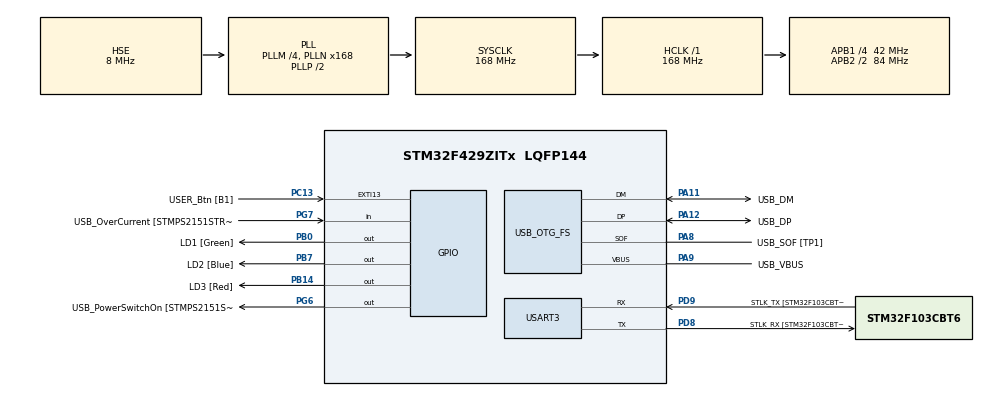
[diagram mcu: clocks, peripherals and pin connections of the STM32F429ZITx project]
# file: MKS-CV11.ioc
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Mcu.Family=STM32F4
Mcu.Name=STM32F429ZITx
Mcu.Package=LQFP144
NVIC.OTG_FS_IRQn=true\:0\:0\:false\:false\:true\:false\:true\:true
NVIC.PriorityGroup=NVIC_PRIORITYGROUP_4
PA1.GPIO_Label=RMII_REF_CLK [LAN8742A-CZ-TR_REFCLK0]
PA1.Signal=ETH_REF_CLK
PA10.GPIO_Label=USB_ID
PA10.Signal=USB_OTG_FS_ID
PA11.GPIO_Label=USB_DM
PA11.Mode=Device_Only
PA11.Signal=USB_OTG_FS_DM
PA12.GPIO_Label=USB_DP
PA12.Mode=Device_Only
PA12.Signal=USB_OTG_FS_DP
PA13.GPIO_Label=TMS
PA13.Mode=Serial_Wire
PA13.Signal=SYS_JTMS-SWDIO
PA14.GPIO_Label=TCK
PA14.Mode=Serial_Wire
PA14.Signal=SYS_JTCK-SWCLK
PA2.GPIO_Label=RMII_MDIO [LAN8742A-CZ-TR_MDIO]
PA2.Signal=ETH_MDIO
PA7.GPIO_Label=RMII_CRS_DV [LAN8742A-CZ-TR_CRS_DV]
PA7.Signal=ETH_CRS_DV
PA8.GPIO_Label=USB_SOF [TP1]
PA8.Mode=Activate_SOF_FS
PA8.Signal=USB_OTG_FS_SOF
PA9.GPIO_Label=USB_VBUS
PA9.Mode=Activate_VBUS
PA9.Signal=USB_OTG_FS_VBUS
PB0.GPIO_Label=LD1 [Green]
PB0.Signal=GPIO_Output
PB13.GPIO_Label=RMII_TXD1 [LAN8742A-CZ-TR_TXD1]
PB13.Signal=ETH_TXD1
PB14.GPIO_Label=LD3 [Red]
PB14.Signal=GPIO_Output
PB7.GPIO_Label=LD2 [Blue]
PB7.Signal=GPIO_Output
PC1.GPIO_Label=RMII_MDC [LAN8742A-CZ-TR_MDC]
PC1.Signal=ETH_MDC
PC13.GPIO_Label=USER_Btn [B1]
PC13.Signal=GPXTI13
PC14/OSC32_IN.Mode=LSE-External-Oscillator
PC14/OSC32_IN.Signal=RCC_OSC32_IN
PC15/OSC32_OUT.Mode=LSE-External-Oscillator
PC15/OSC32_OUT.Signal=RCC_OSC32_OUT
PC4.GPIO_Label=RMII_RXD0 [LAN8742A-CZ-TR_RXD0]
PC4.Signal=ETH_RXD0
PC5.GPIO_Label=RMII_RXD1 [LAN8742A-CZ-TR_RXD1]
PC5.Signal=ETH_RXD1
PD8.GPIO_Label=STLK_RX [STM32F103CBT6_PA3]
PD8.Mode=Asynchronous
PD8.Signal=USART3_TX
PD9.GPIO_Label=STLK_TX [STM32F103CBT6_PA2]
PD9.Mode=Asynchronous
PD9.Signal=USART3_RX
PG11.GPIO_Label=RMII_TX_EN [LAN8742A-CZ-TR_TXEN]
PG11.Signal=ETH_TX_EN
PG13.GPIO_Label=RMII_TXD0 [LAN8742A-CZ-TR_TXD0]
PG13.Signal=ETH_TXD0
PG6.GPIO_Label=USB_PowerSwitchOn [STMPS2151STR_EN]
PG6.Signal=GPIO_Output
PG7.GPIO_Label=USB_OverCurrent [STMPS2151STR_FAULT]
PG7.Signal=GPIO_Input
PH0/OSC_IN.GPIO_Label=MCO [STM32F103CBT6_PA8]
PH0/OSC_IN.Mode=HSE-External-Clock-Source
PH0/OSC_IN.Signal=RCC_OSC_IN
PH1/OSC_OUT.Mode=HSE-External-Clock-Source
PH1/OSC_OUT.Signal=RCC_OSC_OUT
ProjectManager.HeapSize=0x200
ProjectManager.StackSize=0x400
ProjectManager.TargetToolchain=STM32CubeIDE
RCC.48MHZClocksFreq_Value=48000000
RCC.AHBFreq_Value=168000000
RCC.APB1CLKDivider=RCC_HCLK_DIV4
RCC.APB1Freq_Value=42000000
RCC.APB1TimFreq_Value=84000000
RCC.APB2CLKDivider=RCC_HCLK_DIV2
RCC.APB2Freq_Value=84000000
RCC.APB2TimCLKDivider=2
RCC.APB2TimFreq_Value=168000000
RCC.CortexFreq_Value=168000000
RCC.HCLKFreq_Value=168000000
RCC.HSE_VALUE=8000000
RCC.HSI_VALUE=16000000
RCC.PLLM=4
RCC.PLLMUL=RCC_PLL_MUL9
RCC.PLLN=168
RCC.PLLQ=7
RCC.PRESCALERUSB=RCC_USBCLKSOURCE_PLL_DIV1_5
RCC.SYSCLKFreq_VALUE=168000000
RCC.SYSCLKSource=RCC_SYSCLKSOURCE_PLLCLK
RCC.SYSCLKSourceVirtual=RCC_SYSCLKSOURCE_PLLCLK
RCC.USBFreq_Value=48000000
RCC.VCOOutputFreq_Value=336000000
USART3.VirtualMode=VM_ASYNC
USB_DEVICE.CLASS_NAME_FS=HID
USB_DEVICE.VirtualMode-HID_FS=Hid
USB_DEVICE.VirtualModeFS=Hid_FS
USB_OTG_FS.VirtualMode=Device_Only
VP_USB_DEVICE_VS_USB_DEVICE_HID_FS.Mode=HID_FS
board=NUCLEO-F429ZI

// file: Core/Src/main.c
/* USER CODE BEGIN Header */
/**
  ******************************************************************************
  * @file           : main.c
  * @brief          : Main program body
  ******************************************************************************
  * @attention
  *
  * Copyright (c) 2023 STMicroelectronics.
  * All rights reserved.
  *
  * This software is licensed under terms that can be found in the LICENSE file
  * in the root directory of this software component.
  * If no LICENSE file comes with this software, it is provided AS-IS.
  *
  ******************************************************************************
  */
/* USER CODE END Header */
#include "main.h"
#include "usb_device.h"

/* USER CODE BEGIN Includes */
#include "usbd_hid.h"
#include <math.h>
#include <stdbool.h>
/* USER CODE END Includes */

/* USER CODE BEGIN PD */
const static float pi = 3.14159274101257324219;
/* USER CODE END PD */

UART_HandleTypeDef huart3;

void SystemClock_Config(void);
static void MX_GPIO_Init(void);
static void MX_USART3_UART_Init(void);
/* USER CODE BEGIN PFP */
extern USBD_HandleTypeDef hUsbDeviceFS;
/* USER CODE END PFP */

/* USER CODE BEGIN 0 */
void step(uint8_t x, uint8_t y, bool btn)
{
	uint8_t buff[4];
	if(btn)
	{
		buff[0] = 0x01;
	} // stiskni leve tlacitko 0x01
	else
	{buff[0] = 0x00;}
	buff[1] = (int8_t)(x); // posun X
	buff[2] = (int8_t)(y); // posun Y
	buff[3] = 0; // bez scrollu
	USBD_HID_SendReport(&hUsbDeviceFS, buff, sizeof(buff));
	HAL_Delay(USBD_HID_GetPollingInterval(&hUsbDeviceFS));
}

void circle(uint8_t radius)
{
	float sx = radius;
	float sy = 0;
	float x = 0;
	float y = 0;
	int8_t dx = 0;
	int8_t dy = 0;
	for(float phi = 0; phi <= 2*pi; phi = phi + (2*pi)/50)//50 pocet kroku
	{
		x = radius*cosf(phi);
		y = radius*sin(phi);
		dx = x-sx;
		dy = y-sy;

		step(dx, dy, true);

		sx = sx + dx;
		sy = sy + dy;

	}
}

void half_circle(uint8_t radius)
{
	float sx = radius;
	float sy = 0;
	float x = 0;
	float y = 0;
	int8_t dx = 0;
	int8_t dy = 0;
	for(float phi = 0; phi <= pi; phi = phi + (pi)/25)//50 pocet kroku
	{
		x = radius*cosf(phi);
		y = radius*sin(phi);
		dx = x-sx;
		dy = y-sy;

		step(dx, dy, true);

		sx = sx + dx;
		sy = sy + dy;

	}
}
/* USER CODE END 0 */

int main(void)
{

  /* MCU Configuration--------------------------------------------------------*/

  /* Reset of all peripherals, Initializes the Flash interface and the Systick. */
  HAL_Init();

  /* Configure the system clock */
  SystemClock_Config();

  /* Initialize all configured peripherals */
  MX_GPIO_Init();
  MX_USART3_UART_Init();
  MX_USB_DEVICE_Init();

  /* Infinite loop */
  /* USER CODE BEGIN WHILE */
  while (1)
  {
	  if(HAL_GPIO_ReadPin(USER_Btn_GPIO_Port, USER_Btn_Pin) == 1)
	  {
		  circle(100);
		  step(0,0,false);
		  step(-30,-20, false);
		  circle(20);
		  step(0,0,false);
		  step(-60, 0, false);
		  circle(20);
		  step(0,0,false);
		  step(25, 10, false);
		  step(0, 0, true);
		  step(0, 30, true);
		  step(0,0,false);
		  step(35,0,false);
		  half_circle(70);
		  step(0,0,false);
		  step(95,-15,false);

	  }

    /* USER CODE END WHILE */

  }
}

void SystemClock_Config(void)
{
  RCC_OscInitTypeDef RCC_OscInitStruct = {0};
  RCC_ClkInitTypeDef RCC_ClkInitStruct = {0};

  /** Configure the main internal regulator output voltage
  */
  __HAL_RCC_PWR_CLK_ENABLE();
  __HAL_PWR_VOLTAGESCALING_CONFIG(PWR_REGULATOR_VOLTAGE_SCALE1);

  /** Initializes the RCC Oscillators according to the specified parameters
  * in the RCC_OscInitTypeDef structure.
  */
  RCC_OscInitStruct.OscillatorType = RCC_OSCILLATORTYPE_HSE;
  RCC_OscInitStruct.HSEState = RCC_HSE_BYPASS;
  RCC_OscInitStruct.PLL.PLLState = RCC_PLL_ON;
  RCC_OscInitStruct.PLL.PLLSource = RCC_PLLSOURCE_HSE;
  RCC_OscInitStruct.PLL.PLLM = 4;
  RCC_OscInitStruct.PLL.PLLN = 168;
  RCC_OscInitStruct.PLL.PLLP = RCC_PLLP_DIV2;
  RCC_OscInitStruct.PLL.PLLQ = 7;
  if (HAL_RCC_OscConfig(&RCC_OscInitStruct) != HAL_OK)
  {
    Error_Handler();
  }

  /** Initializes the CPU, AHB and APB buses clocks
  */
  RCC_ClkInitStruct.ClockType = RCC_CLOCKTYPE_HCLK|RCC_CLOCKTYPE_SYSCLK
                              |RCC_CLOCKTYPE_PCLK1|RCC_CLOCKTYPE_PCLK2;
  RCC_ClkInitStruct.SYSCLKSource = RCC_SYSCLKSOURCE_PLLCLK;
  RCC_ClkInitStruct.AHBCLKDivider = RCC_SYSCLK_DIV1;
  RCC_ClkInitStruct.APB1CLKDivider = RCC_HCLK_DIV4;
  RCC_ClkInitStruct.APB2CLKDivider = RCC_HCLK_DIV2;

  if (HAL_RCC_ClockConfig(&RCC_ClkInitStruct, FLASH_LATENCY_5) != HAL_OK)
  {
    Error_Handler();
  }
}

static void MX_USART3_UART_Init(void)
{

  huart3.Instance = USART3;
  huart3.Init.BaudRate = 115200;
  huart3.Init.WordLength = UART_WORDLENGTH_8B;
  huart3.Init.StopBits = UART_STOPBITS_1;
  huart3.Init.Parity = UART_PARITY_NONE;
  huart3.Init.Mode = UART_MODE_TX_RX;
  huart3.Init.HwFlowCtl = UART_HWCONTROL_NONE;
  huart3.Init.OverSampling = UART_OVERSAMPLING_16;
  if (HAL_UART_Init(&huart3) != HAL_OK)
  {
    Error_Handler();
  }

}

static void MX_GPIO_Init(void)
{
  GPIO_InitTypeDef GPIO_InitStruct = {0};

  /* GPIO Ports Clock Enable */
  __HAL_RCC_GPIOC_CLK_ENABLE();
  __HAL_RCC_GPIOH_CLK_ENABLE();
  __HAL_RCC_GPIOA_CLK_ENABLE();
  __HAL_RCC_GPIOB_CLK_ENABLE();
  __HAL_RCC_GPIOD_CLK_ENABLE();
  __HAL_RCC_GPIOG_CLK_ENABLE();

  /*Configure GPIO pin Output Level */
  HAL_GPIO_WritePin(GPIOB, LD1_Pin|LD3_Pin|LD2_Pin, GPIO_PIN_RESET);

  /*Configure GPIO pin Output Level */
  HAL_GPIO_WritePin(USB_PowerSwitchOn_GPIO_Port, USB_PowerSwitchOn_Pin, GPIO_PIN_RESET);

  /*Configure GPIO pin : USER_Btn_Pin */
  GPIO_InitStruct.Pin = USER_Btn_Pin;
  GPIO_InitStruct.Mode = GPIO_MODE_IT_RISING;
  GPIO_InitStruct.Pull = GPIO_NOPULL;
  HAL_GPIO_Init(USER_Btn_GPIO_Port, &GPIO_InitStruct);

  /*Configure GPIO pins : RMII_MDC_Pin RMII_RXD0_Pin RMII_RXD1_Pin */
  GPIO_InitStruct.Pin = RMII_MDC_Pin|RMII_RXD0_Pin|RMII_RXD1_Pin;
  GPIO_InitStruct.Mode = GPIO_MODE_AF_PP;
  GPIO_InitStruct.Pull = GPIO_NOPULL;
  GPIO_InitStruct.Speed = GPIO_SPEED_FREQ_VERY_HIGH;
  GPIO_InitStruct.Alternate = GPIO_AF11_ETH;
  HAL_GPIO_Init(GPIOC, &GPIO_InitStruct);

  /*Configure GPIO pins : RMII_REF_CLK_Pin RMII_MDIO_Pin RMII_CRS_DV_Pin */
  GPIO_InitStruct.Pin = RMII_REF_CLK_Pin|RMII_MDIO_Pin|RMII_CRS_DV_Pin;
  GPIO_InitStruct.Mode = GPIO_MODE_AF_PP;
  GPIO_InitStruct.Pull = GPIO_NOPULL;
  GPIO_InitStruct.Speed = GPIO_SPEED_FREQ_VERY_HIGH;
  GPIO_InitStruct.Alternate = GPIO_AF11_ETH;
  HAL_GPIO_Init(GPIOA, &GPIO_InitStruct);

  /*Configure GPIO pins : LD1_Pin LD3_Pin LD2_Pin */
  GPIO_InitStruct.Pin = LD1_Pin|LD3_Pin|LD2_Pin;
  GPIO_InitStruct.Mode = GPIO_MODE_OUTPUT_PP;
  GPIO_InitStruct.Pull = GPIO_NOPULL;
  GPIO_InitStruct.Speed = GPIO_SPEED_FREQ_LOW;
  HAL_GPIO_Init(GPIOB, &GPIO_InitStruct);

  /*Configure GPIO pin : RMII_TXD1_Pin */
  GPIO_InitStruct.Pin = RMII_TXD1_Pin;
  GPIO_InitStruct.Mode = GPIO_MODE_AF_PP;
  GPIO_InitStruct.Pull = GPIO_NOPULL;
  GPIO_InitStruct.Speed = GPIO_SPEED_FREQ_VERY_HIGH;
  GPIO_InitStruct.Alternate = GPIO_AF11_ETH;
  HAL_GPIO_Init(RMII_TXD1_GPIO_Port, &GPIO_InitStruct);

  /*Configure GPIO pin : USB_PowerSwitchOn_Pin */
  GPIO_InitStruct.Pin = USB_PowerSwitchOn_Pin;
  GPIO_InitStruct.Mode = GPIO_MODE_OUTPUT_PP;
  GPIO_InitStruct.Pull = GPIO_NOPULL;
  GPIO_InitStruct.Speed = GPIO_SPEED_FREQ_LOW;
  HAL_GPIO_Init(USB_PowerSwitchOn_GPIO_Port, &GPIO_InitStruct);

  /*Configure GPIO pin : USB_OverCurrent_Pin */
  GPIO_InitStruct.Pin = USB_OverCurrent_Pin;
  GPIO_InitStruct.Mode = GPIO_MODE_INPUT;
  GPIO_InitStruct.Pull = GPIO_NOPULL;
  HAL_GPIO_Init(USB_OverCurrent_GPIO_Port, &GPIO_InitStruct);

  /*Configure GPIO pins : RMII_TX_EN_Pin RMII_TXD0_Pin */
  GPIO_InitStruct.Pin = RMII_TX_EN_Pin|RMII_TXD0_Pin;
  GPIO_InitStruct.Mode = GPIO_MODE_AF_PP;
  GPIO_InitStruct.Pull = GPIO_NOPULL;
  GPIO_InitStruct.Speed = GPIO_SPEED_FREQ_VERY_HIGH;
  GPIO_InitStruct.Alternate = GPIO_AF11_ETH;
  HAL_GPIO_Init(GPIOG, &GPIO_InitStruct);

}

void Error_Handler(void)
{
  __disable_irq();
  while (1)
  {
  }
}
